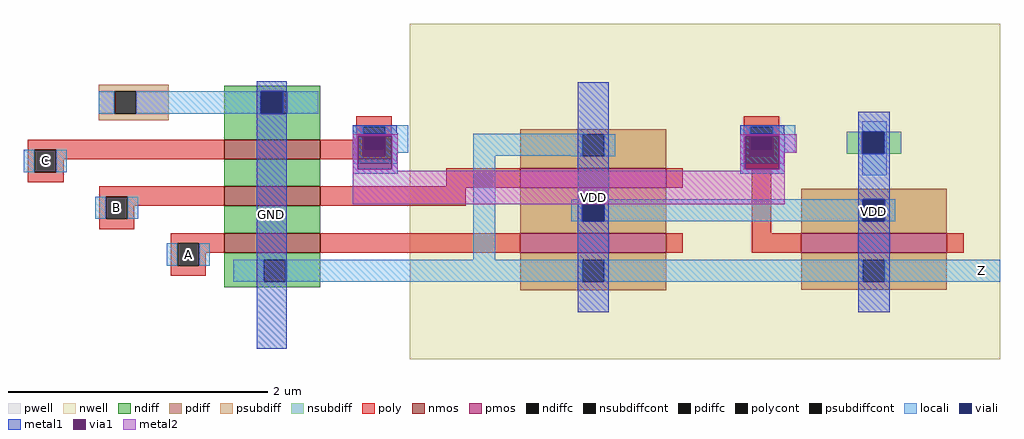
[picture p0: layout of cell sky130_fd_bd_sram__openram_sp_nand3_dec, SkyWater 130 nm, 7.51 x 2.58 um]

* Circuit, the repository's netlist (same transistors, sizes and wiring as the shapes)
* NGSPICE file created from sky130_fd_bd_sram__openram_sp_nand3_dec.ext - technology: sky130A

.subckt sky130_fd_bd_sram__openram_sp_nand3_dec
X0 GND C a_128_208# GND sky130_fd_pr__nfet_01v8 w=0.74 l=0.15
X1 VDD C Z VDD sky130_fd_pr__pfet_01v8 w=1.12 l=0.15
X2 Z B VDD VDD sky130_fd_pr__pfet_01v8 w=1.12 l=0.15
X3 a_128_136# A Z GND sky130_fd_pr__nfet_01v8 w=0.74 l=0.15
X4 VDD A Z VDD sky130_fd_pr__pfet_01v8 w=1.12 l=0.15
X5 a_128_208# B a_128_136# GND sky130_fd_pr__nfet_01v8 w=0.74 l=0.15
.ends

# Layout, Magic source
magic
tech sky130A
magscale 1 2
<< nwell >>
rect 594 -79 1502 437
<< pwell >>
rect 115 289 223 343
<< nmos >>
rect 308 229 456 259
rect 308 157 456 187
rect 308 85 456 115
<< pmos >>
rect 764 185 988 215
rect 764 85 988 115
rect 1196 85 1420 115
<< ndiff >>
rect 308 333 456 342
rect 308 299 364 333
rect 405 299 456 333
rect 308 259 456 299
rect 308 187 456 229
rect 308 115 456 157
rect 308 74 456 85
rect 308 40 369 74
rect 403 40 456 74
rect 308 32 456 40
<< pdiff >>
rect 764 267 988 275
rect 764 233 859 267
rect 893 233 988 267
rect 764 215 988 233
rect 764 167 988 185
rect 764 133 859 167
rect 893 133 988 167
rect 764 115 988 133
rect 1196 167 1420 183
rect 1196 133 1291 167
rect 1325 133 1420 167
rect 1196 115 1420 133
rect 764 74 988 85
rect 764 40 859 74
rect 893 40 988 74
rect 764 27 988 40
rect 1196 74 1420 85
rect 1196 40 1291 74
rect 1325 40 1420 74
rect 1196 28 1420 40
<< ndiffc >>
rect 364 299 405 333
rect 369 40 403 74
<< pdiffc >>
rect 859 233 893 267
rect 859 133 893 167
rect 1291 133 1325 167
rect 859 40 893 74
rect 1291 40 1325 74
<< psubdiff >>
rect 115 333 223 343
rect 115 299 139 333
rect 173 299 223 333
rect 115 289 223 299
<< nsubdiff >>
rect 1266 237 1290 271
rect 1324 237 1350 271
<< psubdiffcont >>
rect 139 299 173 333
<< nsubdiffcont >>
rect 1290 237 1324 271
<< poly >>
rect 511 279 566 295
rect 511 259 522 279
rect 6 243 308 259
rect 6 209 16 243
rect 50 229 308 243
rect 456 245 522 259
rect 556 245 566 279
rect 1108 279 1162 295
rect 456 229 566 245
rect 50 209 61 229
rect 6 193 61 209
rect 1108 245 1118 279
rect 1152 245 1162 279
rect 650 187 764 215
rect 116 171 308 187
rect 116 137 126 171
rect 160 157 308 171
rect 456 185 764 187
rect 988 185 1014 215
rect 1108 213 1162 245
rect 456 157 680 185
rect 160 137 170 157
rect 116 121 170 137
rect 1120 115 1150 213
rect 226 99 308 115
rect 226 65 236 99
rect 270 85 308 99
rect 456 85 764 115
rect 988 85 1014 115
rect 1120 85 1196 115
rect 1420 85 1446 115
rect 270 65 280 85
rect 226 49 280 65
<< polycont >>
rect 16 209 50 243
rect 522 245 556 279
rect 1118 245 1152 279
rect 126 137 160 171
rect 236 65 270 99
<< locali >>
rect 115 299 139 333
rect 173 299 364 333
rect 405 299 453 333
rect 506 279 591 281
rect 0 209 16 243
rect 50 209 66 243
rect 506 234 522 279
rect 556 239 591 279
rect 1102 279 1187 281
rect 691 267 867 268
rect 556 234 574 239
rect 506 222 574 234
rect 691 234 859 267
rect 110 137 126 171
rect 160 137 176 171
rect 220 65 236 99
rect 270 65 286 99
rect 691 74 725 234
rect 842 233 859 234
rect 893 233 910 267
rect 1102 234 1118 279
rect 1152 239 1187 279
rect 1290 271 1328 287
rect 1152 234 1170 239
rect 1102 222 1170 234
rect 1324 237 1328 271
rect 1290 204 1328 237
rect 842 133 859 167
rect 893 133 1291 167
rect 1325 133 1341 167
rect 322 40 369 74
rect 403 40 859 74
rect 893 40 1291 74
rect 1325 40 1502 74
<< viali >>
rect 364 299 398 333
rect 522 245 556 268
rect 522 234 556 245
rect 1118 245 1152 268
rect 1118 234 1152 245
rect 1290 237 1324 271
rect 859 133 893 167
rect 1291 133 1325 167
<< metal1 >>
rect 358 333 404 349
rect 358 299 364 333
rect 398 299 404 333
rect 358 -63 404 299
rect 506 269 574 281
rect 506 268 575 269
rect 506 265 522 268
rect 556 265 575 268
rect 506 213 514 265
rect 566 213 575 265
rect 506 206 575 213
rect 852 167 900 347
rect 1102 269 1170 281
rect 1284 271 1332 302
rect 1102 268 1171 269
rect 1102 265 1118 268
rect 1152 265 1171 268
rect 1102 213 1110 265
rect 1162 213 1171 265
rect 1102 206 1171 213
rect 1284 237 1290 271
rect 1324 237 1332 271
rect 852 133 859 167
rect 893 133 900 167
rect 852 -7 900 133
rect 1284 167 1332 237
rect 1284 133 1291 167
rect 1325 133 1332 167
rect 1284 -7 1332 133
<< via1 >>
rect 514 234 522 265
rect 522 234 556 265
rect 556 234 566 265
rect 514 213 566 234
rect 1110 234 1118 265
rect 1118 234 1152 265
rect 1152 234 1162 265
rect 1110 213 1162 234
<< metal2 >>
rect 506 265 575 267
rect 506 213 514 265
rect 566 213 575 265
rect 506 211 575 213
rect 1102 265 1189 267
rect 1102 213 1110 265
rect 1162 239 1189 265
rect 1162 213 1171 239
rect 1102 211 1171 213
rect 506 159 1171 211
<< labels >>
rlabel metal1 s 358 -63 404 349 4 GND
rlabel locali s 1474 57 1474 57 4 Z
rlabel metal1 s 381 141 381 141 4 gnd
rlabel metal1 s 852 -7 900 347 4 VDD
rlabel metal1 s 1284 -7 1332 302 4 VDD
rlabel metal1 s 876 170 876 170 4 vdd
rlabel metal1 s 1308 147 1308 147 4 vdd
rlabel metal1 s 381 143 381 143 4 gnd
rlabel polycont 253 82 253 82 1 A
rlabel polycont 143 154 143 154 1 B
rlabel polycont 33 226 33 226 1 C
<< properties >>
string FIXED_BBOX 0 0 1502 316
<< end >>
